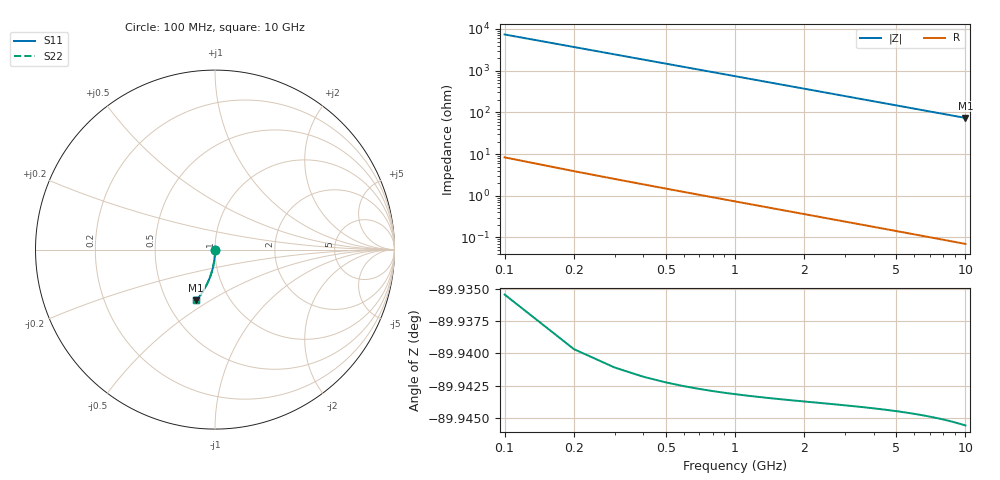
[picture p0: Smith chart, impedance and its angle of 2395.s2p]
# Hz S RI R 50.00
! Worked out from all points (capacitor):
!   100 points, 100 MHz to 10 GHz, reference 50 ohm
!   read as one part in shunt: C = 215 fF near 100 MHz
!   lowest |Z| = 73.6 ohm at 10 GHz (marker M1)
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1e8  8.96e-05 -0.00315  0.9999 -0.00361  0.9999 -0.00361  8.96e-05 -0.00315
2e8  5.28e-05 -0.00631  0.9998 -0.00723  0.9998 -0.00723  5.28e-05 -0.00631
3e8  -6.97e-06 -0.00946  0.9998 -0.0108  0.9998 -0.0108  -6.97e-06 -0.00946
4e8  -8.96e-05 -0.0126  0.9997 -0.0145  0.9997 -0.0145  -8.96e-05 -0.0126
5e8  -0.000195 -0.0158  0.9996 -0.0181  0.9996 -0.0181  -0.000195 -0.0158
6e8  -0.000323 -0.0189  0.9995 -0.0217  0.9995 -0.0217  -0.000323 -0.0189
7e8  -0.000474 -0.0221  0.9993 -0.0253  0.9993 -0.0253  -0.000474 -0.0221
8e8  -0.000648 -0.0252  0.9991 -0.0289  0.9991 -0.0289  -0.000648 -0.0252
9e8  -0.000845 -0.0284  0.9989 -0.0325  0.9989 -0.0325  -0.000845 -0.0284
1.1e9  -0.00131 -0.0346  0.9985 -0.0397  0.9985 -0.0397  -0.00131 -0.0346
1.4e9  -0.00217 -0.0441  0.9976 -0.0505  0.9976 -0.0505  -0.00217 -0.0441
1.8e9  -0.00363 -0.0566  0.9961 -0.0649  0.9961 -0.0649  -0.00363 -0.0566
2.1e9  -0.00497 -0.0659  0.9948 -0.0756  0.9948 -0.0756  -0.00497 -0.0659
2.5e9  -0.00706 -0.0783  0.9926 -0.0899  0.9926 -0.0899  -0.00706 -0.0783
2.9e9  -0.00951 -0.0906  0.9902 -0.1041  0.9902 -0.1041  -0.00951 -0.0906
3.4e9  -0.0131 -0.1059  0.9866 -0.1216  0.9866 -0.1216  -0.0131 -0.1059
4.2e9  -0.0198 -0.13  0.9797 -0.1494  0.9797 -0.1494  -0.0198 -0.13
5.1e9  -0.0291 -0.1564  0.9704 -0.18  0.9704 -0.18  -0.0291 -0.1564
5.9e9  -0.0386 -0.1792  0.9608 -0.2065  0.9608 -0.2065  -0.0386 -0.1792
6.7e9  -0.0493 -0.2012  0.95 -0.2323  0.95 -0.2323  -0.0493 -0.2012
8.4e9  -0.0757 -0.2453  0.9233 -0.2844  0.9233 -0.2844  -0.0757 -0.2453
1e10  -0.1044 -0.2828  0.8943 -0.3295  0.8943 -0.3295  -0.1044 -0.2828
